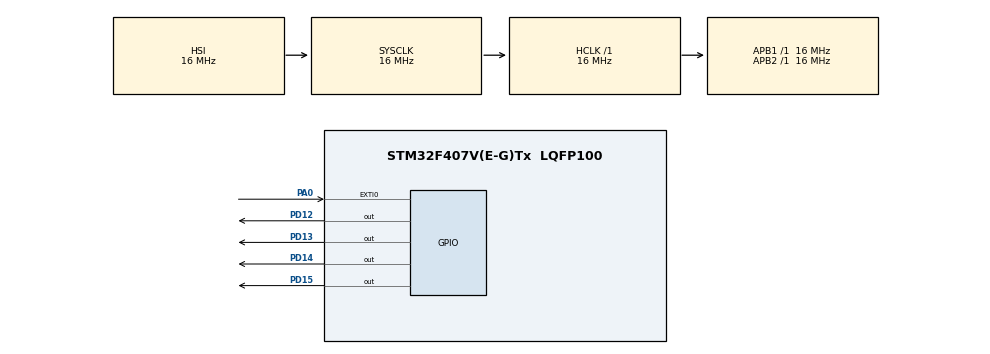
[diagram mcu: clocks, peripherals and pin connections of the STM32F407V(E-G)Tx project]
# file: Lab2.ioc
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Mcu.Family=STM32F4
Mcu.Name=STM32F407V(E-G)Tx
Mcu.Package=LQFP100
NVIC.EXTI0_IRQn=true\:0\:0\:false\:false\:true\:true\:true\:true
NVIC.PriorityGroup=NVIC_PRIORITYGROUP_4
PA0-WKUP.Signal=GPXTI0
PD12.PinState=GPIO_PIN_SET
PD12.Signal=GPIO_Output
PD13.PinState=GPIO_PIN_SET
PD13.Signal=GPIO_Output
PD14.PinState=GPIO_PIN_SET
PD14.Signal=GPIO_Output
PD15.PinState=GPIO_PIN_SET
PD15.Signal=GPIO_Output
ProjectManager.HeapSize=0x200
ProjectManager.StackSize=0x400
ProjectManager.TargetToolchain=STM32CubeIDE
RCC.AHBFreq_Value=16000000
RCC.APB1Freq_Value=16000000
RCC.APB2Freq_Value=16000000
RCC.CortexFreq_Value=16000000
RCC.HSE_VALUE=25000000
RCC.HSI_VALUE=16000000
RCC.LSE_VALUE=32768
RCC.SYSCLKFreq_VALUE=16000000
RCC.VCOOutputFreq_Value=192000000
board=custom

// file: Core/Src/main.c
/* USER CODE BEGIN Header */
/**
  ******************************************************************************
  * @file           : main.c
  * @brief          : Main program body
  ******************************************************************************
  * @attention
  *
  * Copyright (c) 2023 STMicroelectronics.
  * All rights reserved.
  *
  * This software is licensed under terms that can be found in the LICENSE file
  * in the root directory of this software component.
  * If no LICENSE file comes with this software, it is provided AS-IS.
  *
  ******************************************************************************
  */
/* USER CODE END Header */
#include "main.h"

/* USER CODE BEGIN PV */

unsigned int leds[] = {GPIO_PIN_15, GPIO_PIN_14, GPIO_PIN_13, GPIO_PIN_12};
unsigned int ledsLength = sizeof(leds)/sizeof(leds[0]);
int direction = 0;
GPIO_TypeDef* port = GPIOD;

/* USER CODE END PV */

void SystemClock_Config(void);
static void MX_GPIO_Init(void);

int main(void)
{

  /* MCU Configuration--------------------------------------------------------*/

  /* Reset of all peripherals, Initializes the Flash interface and the Systick. */
  HAL_Init();

  /* Configure the system clock */
  SystemClock_Config();

  /* Initialize all configured peripherals */
  MX_GPIO_Init();
  /* USER CODE BEGIN 2 */
  int currLed = 0;
  int prevLed = 0;
  /* USER CODE END 2 */

  /* Infinite loop */
  /* USER CODE BEGIN WHILE */
  while (1)
  {
	  prevLed = currLed;

	  if(direction)
		  currLed++;
	  else currLed--;

	  if(currLed < 0) currLed = ledsLength - 1;
	  if(currLed > ledsLength - 1) currLed = 0;

	  HAL_GPIO_WritePin(port, leds[currLed], GPIO_PIN_SET);
	  HAL_GPIO_WritePin(port, leds[prevLed], GPIO_PIN_RESET);

	  HAL_Delay(500);

    /* USER CODE END WHILE */

  }
}

void SystemClock_Config(void)
{
  RCC_OscInitTypeDef RCC_OscInitStruct = {0};
  RCC_ClkInitTypeDef RCC_ClkInitStruct = {0};

  /** Configure the main internal regulator output voltage
  */
  __HAL_RCC_PWR_CLK_ENABLE();
  __HAL_PWR_VOLTAGESCALING_CONFIG(PWR_REGULATOR_VOLTAGE_SCALE1);

  /** Initializes the RCC Oscillators according to the specified parameters
  * in the RCC_OscInitTypeDef structure.
  */
  RCC_OscInitStruct.OscillatorType = RCC_OSCILLATORTYPE_HSI;
  RCC_OscInitStruct.HSIState = RCC_HSI_ON;
  RCC_OscInitStruct.HSICalibrationValue = RCC_HSICALIBRATION_DEFAULT;
  RCC_OscInitStruct.PLL.PLLState = RCC_PLL_NONE;
  if (HAL_RCC_OscConfig(&RCC_OscInitStruct) != HAL_OK)
  {
    Error_Handler();
  }

  /** Initializes the CPU, AHB and APB buses clocks
  */
  RCC_ClkInitStruct.ClockType = RCC_CLOCKTYPE_HCLK|RCC_CLOCKTYPE_SYSCLK
                              |RCC_CLOCKTYPE_PCLK1|RCC_CLOCKTYPE_PCLK2;
  RCC_ClkInitStruct.SYSCLKSource = RCC_SYSCLKSOURCE_HSI;
  RCC_ClkInitStruct.AHBCLKDivider = RCC_SYSCLK_DIV1;
  RCC_ClkInitStruct.APB1CLKDivider = RCC_HCLK_DIV1;
  RCC_ClkInitStruct.APB2CLKDivider = RCC_HCLK_DIV1;

  if (HAL_RCC_ClockConfig(&RCC_ClkInitStruct, FLASH_LATENCY_0) != HAL_OK)
  {
    Error_Handler();
  }
}

static void MX_GPIO_Init(void)
{
  GPIO_InitTypeDef GPIO_InitStruct = {0};

  /* GPIO Ports Clock Enable */
  __HAL_RCC_GPIOA_CLK_ENABLE();
  __HAL_RCC_GPIOD_CLK_ENABLE();

  /*Configure GPIO pin : PA0 */
  GPIO_InitStruct.Pin = GPIO_PIN_0;
  GPIO_InitStruct.Mode = GPIO_MODE_IT_RISING;
  GPIO_InitStruct.Pull = GPIO_NOPULL;
  HAL_GPIO_Init(GPIOA, &GPIO_InitStruct);

  /*Configure GPIO pins : PD12 PD13 PD14 PD15 */
  GPIO_InitStruct.Pin = GPIO_PIN_12|GPIO_PIN_13|GPIO_PIN_14|GPIO_PIN_15;
  GPIO_InitStruct.Mode = GPIO_MODE_OUTPUT_PP;
  GPIO_InitStruct.Pull = GPIO_NOPULL;
  GPIO_InitStruct.Speed = GPIO_SPEED_FREQ_LOW;
  HAL_GPIO_Init(GPIOD, &GPIO_InitStruct);

  /* EXTI interrupt init*/
  HAL_NVIC_SetPriority(EXTI0_IRQn, 0, 0);
  HAL_NVIC_EnableIRQ(EXTI0_IRQn);

}

void Error_Handler(void)
{
  __disable_irq();
  while (1)
  {
  }
}
